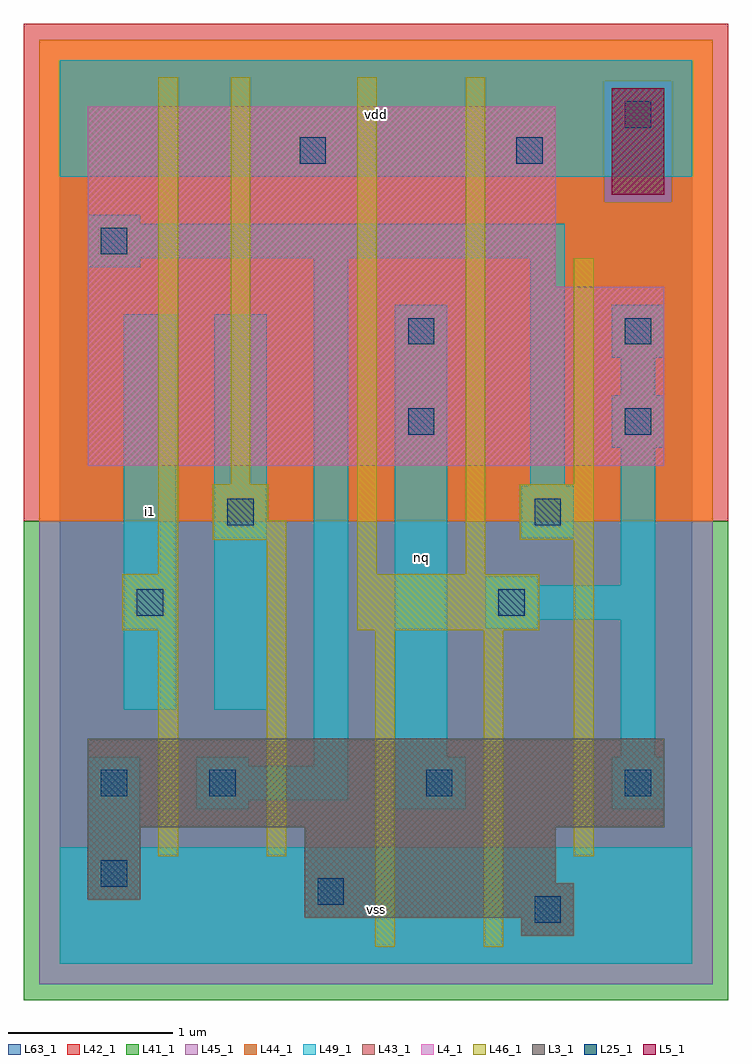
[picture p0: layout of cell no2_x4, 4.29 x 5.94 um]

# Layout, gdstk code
import gdstk
lib = gdstk.Library(unit=1e-6, precision=1e-09)
def R(c, l, rs):  # rectangles x0, y0, x1, y1
    for r in rs: c.add(gdstk.rectangle(r[:2], r[2:], *l))
L3_1 = (3, 1)
L4_1 = (4, 1)
L5_1 = (5, 1)
L25_1 = (25, 1)
L41_1 = (41, 1)
L42_1 = (42, 1)
L43_1 = (43, 1)
L44_1 = (44, 1)
L45_1 = (45, 1)
L46_1 = (46, 1)
L49_1 = (49, 1)
L63_1 = (63, 1)

no2_x4 = lib.new_cell('no2_x4')
R(no2_x4, L3_1, [(2.81,0.17,3.13,0.28), (1.49,0.28,3.13,0.49), (0.17,0.39,0.49,0.83), (1.49,0.49,3.02,0.83), (0.17,0.83,3.68,1.37)])
R(no2_x4, L4_1, [(0.17,3.03,3.68,4.12), (0.17,4.12,3.02,5.22)])
R(no2_x4, L5_1, [(3.36,4.68,3.68,5.33)])
R(no2_x4, L25_1, [(2.89,0.25,3.05,0.41), (1.57,0.36,1.73,0.52), (0.25,0.47,0.41,0.63), (0.25,1.02,0.41,1.18), (0.91,1.02,1.07,1.18), (2.23,1.02,2.39,1.18), (3.44,1.02,3.6,1.18), (0.47,2.12,0.63,2.28), (2.67,2.12,2.83,2.28), (1.02,2.67,1.18,2.83), (2.89,2.67,3.05,2.83), (2.12,3.22,2.28,3.38), (3.44,3.22,3.6,3.38), (2.12,3.77,2.28,3.93), (3.44,3.77,3.6,3.93), (0.25,4.32,0.41,4.48), (1.46,4.87,1.62,5.03), (2.78,4.87,2.94,5.03), (3.44,5.09,3.6,5.25)])
R(no2_x4, L41_1, [(-0.22,-0.22,4.07,2.695)])
R(no2_x4, L42_1, [(-0.22,2.695,4.07,5.72)])
R(no2_x4, L43_1, [(2.81,0.17,3.13,0.28), (1.49,0.28,3.13,0.49), (0.17,0.39,0.49,0.83), (1.49,0.49,3.02,0.83), (0.17,0.83,3.68,1.37), (0.17,3.03,3.68,4.12), (0.17,4.12,3.02,5.22), (3.36,4.68,3.68,5.33)])
R(no2_x4, L44_1, [(-0.125,2.695,3.975,4.635), (-0.125,4.635,3.315,5.375), (3.725,4.635,3.975,5.375), (-0.125,5.375,3.975,5.625)])
R(no2_x4, L45_1, [(-0.125,-0.125,3.975,2.695), (3.315,4.635,3.725,5.375)])
R(no2_x4, L46_1, [(1.92,0.105,2.04,2.03), (2.58,0.105,2.7,2.03), (0.6,0.655,0.72,2.03), (1.26,0.655,1.38,2.58), (3.13,0.655,3.25,2.58), (0.38,2.03,0.72,2.37), (1.81,2.03,2.92,2.37), (0.6,2.37,0.72,5.395), (1.81,2.37,1.93,5.395), (2.47,2.37,2.59,5.395), (0.93,2.58,1.38,2.7), (2.8,2.58,3.25,2.92), (0.93,2.7,1.27,2.92), (1.04,2.92,1.16,5.395), (3.13,2.92,3.25,4.295)])
R(no2_x4, L49_1, [(0,0,3.85,0.71), (0.17,0.71,0.49,1.26), (0.83,0.94,1.15,0.995), (2.04,0.94,2.47,1.26), (3.36,0.94,3.68,1.26), (0.83,0.995,1.755,1.205), (0.83,1.205,1.15,1.26), (1.545,1.205,1.755,4.295), (2.04,1.26,2.36,4.01), (3.415,1.26,3.625,2.095), (0.39,1.545,0.71,3.955), (0.94,1.545,1.26,3.955), (2.59,2.04,2.91,2.095), (2.59,2.095,3.625,2.305), (2.59,2.305,2.91,2.36), (3.415,2.305,3.625,3.14), (2.81,2.59,3.13,2.91), (2.865,2.91,3.075,4.295), (3.36,3.14,3.68,3.46), (3.415,3.46,3.625,3.69), (3.36,3.69,3.68,4.01), (0.17,4.24,0.49,4.295), (0.17,4.295,3.075,4.505), (0.17,4.505,0.49,4.56), (0,4.79,3.85,5.5)])
R(no2_x4, L63_1, [(0,0,3.85,5.5)])
no2_x4.add(gdstk.Label('i1', (0.55,2.75), layer=49, texttype=1))
no2_x4.add(gdstk.Label('i1', (0.55,2.75), layer=49, texttype=1))
no2_x4.add(gdstk.Label('vss', (1.925,0.33), layer=49, texttype=1))
no2_x4.add(gdstk.Label('vss', (1.925,0.33), layer=49, texttype=1))
no2_x4.add(gdstk.Label('nq', (2.2,2.475), layer=49, texttype=1))
no2_x4.add(gdstk.Label('nq', (2.2,2.475), layer=49, texttype=1))
no2_x4.add(gdstk.Label('vdd', (1.925,5.17), layer=49, texttype=1))
no2_x4.add(gdstk.Label('vdd', (1.925,5.17), layer=49, texttype=1))

lib.write_gds('no2_x4.gds')
